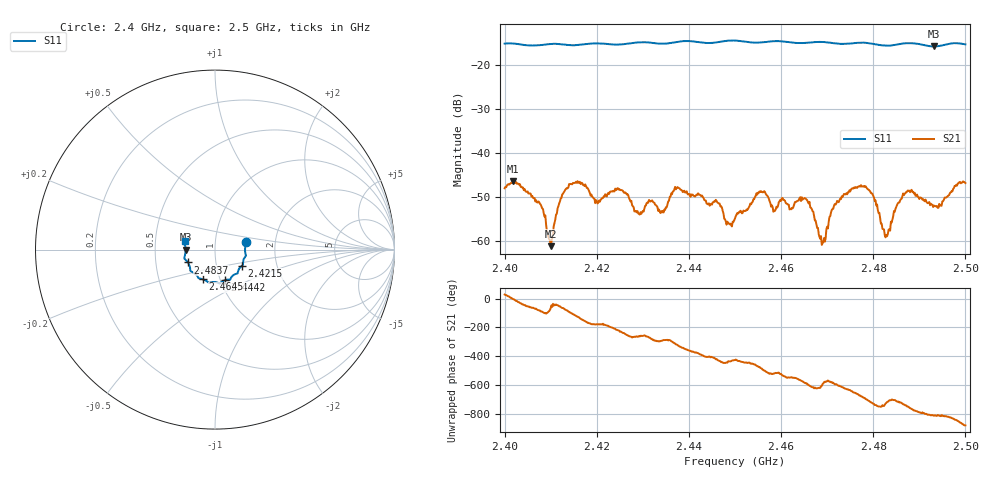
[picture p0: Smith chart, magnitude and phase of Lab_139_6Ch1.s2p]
# Hz S RI R 50
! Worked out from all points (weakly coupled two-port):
!   601 points, 2.4 GHz to 2.5 GHz, reference 50 ohm
!   highest |S21| = -46.34 dB at 2.4018 GHz (marker M1); lowest = -61.2 dB at 2.41 GHz (marker M2)
!   lowest |S11| = -15.7 dB at 2.4932 GHz (marker M3), VSWR 1.39, Z = 36 - j0.0574 ohm
!   |S11| at or under -10 dB: start of sweep to end of sweep
!   S12 and S22 are empty: the file has one direction only
!   S11 on the Smith chart (normalised r, x): 2.4 GHz: 1.41, +0.12; 2.4215 GHz: 1.33, -0.25; 2.4442 GHz: 1.05, -0.37; 2.4645 GHz: 0.83, -0.29; 2.4837 GHz: 0.73, -0.11; 2.5 GHz: 0.71, +0.07
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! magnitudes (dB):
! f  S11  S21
! 2.4 GHz  -15.1  -48.0
! 2.4018 GHz  -15.1  -46.3
! 2.4078 GHz  -15.4  -51.7
! 2.41 GHz  -15.2  -61.2
! 2.4127 GHz  -15.3  -49.2
! 2.4167 GHz  -15.3  -46.7
! 2.4215 GHz  -15.1  -49.8
! 2.4333 GHz  -15.1  -53.1
! 2.4375 GHz  -14.7  -47.7
! 2.4442 GHz  -15.0  -51.6
! 2.45 GHz  -14.4  -54.8
! 2.4555 GHz  -14.8  -48.8
! 2.4645 GHz  -15.0  -50.0
! 2.4667 GHz  -14.8  -52.7
! 2.4692 GHz  -14.7  -60.2
! 2.4717 GHz  -15.0  -51.6
! 2.4778 GHz  -14.9  -47.6
! 2.4833 GHz  -15.6  -57.4
! 2.4837 GHz  -15.5  -57.6
! 2.4873 GHz  -15.0  -48.8
! 2.4932 GHz  -15.7  -51.9
! 2.5 GHz  -15.3  -46.8
